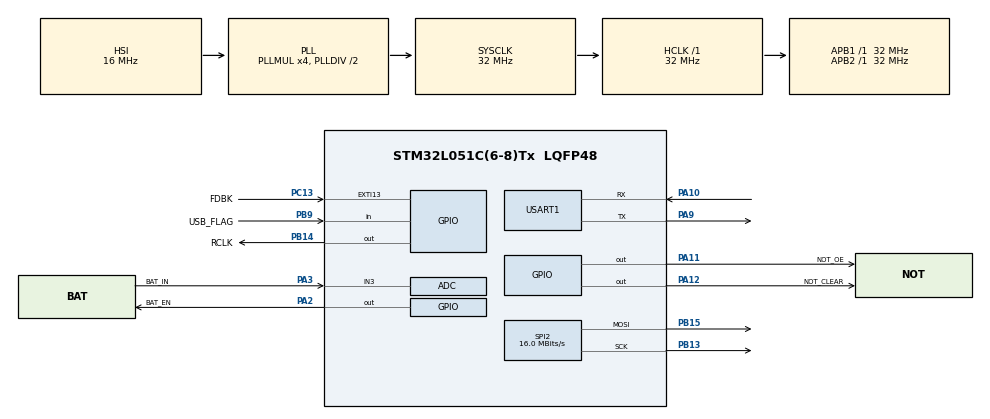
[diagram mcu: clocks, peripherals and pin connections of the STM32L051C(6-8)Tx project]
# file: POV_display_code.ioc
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Dma.Request0=SPI2_TX
Dma.SPI2_TX.0.Direction=DMA_MEMORY_TO_PERIPH
Dma.SPI2_TX.0.Instance=DMA1_Channel5
Dma.SPI2_TX.0.MemDataAlignment=DMA_MDATAALIGN_BYTE
Dma.SPI2_TX.0.MemInc=DMA_MINC_ENABLE
Dma.SPI2_TX.0.Mode=DMA_CIRCULAR
Dma.SPI2_TX.0.PeriphDataAlignment=DMA_PDATAALIGN_BYTE
Dma.SPI2_TX.0.PeriphInc=DMA_PINC_DISABLE
Dma.SPI2_TX.0.Priority=DMA_PRIORITY_LOW
Mcu.Family=STM32L0
Mcu.Name=STM32L051C(6-8)Tx
Mcu.Package=LQFP48
NVIC.DMA1_Channel4_5_6_7_IRQn=true\:0\:0\:false\:false\:true\:false\:true
NVIC.EXTI4_15_IRQn=true\:0\:0\:false\:false\:true\:true\:true
PA10.Mode=Asynchronous
PA10.Signal=USART1_RX
PA11.GPIO_Label=NOT_OE
PA11.Signal=GPIO_Output
PA12.GPIO_Label=NOT_CLEAR
PA12.Signal=GPIO_Output
PA13.Mode=Serial_Wire
PA13.Signal=SYS_SWDIO
PA14.Mode=Serial_Wire
PA14.Signal=SYS_SWCLK
PA2.GPIO_Label=BAT_EN
PA2.Signal=GPIO_Output
PA3.GPIO_Label=BAT_IN
PA3.Mode=IN3
PA3.Signal=ADC_IN3
PA9.Mode=Asynchronous
PA9.Signal=USART1_TX
PB13.Mode=TX_Only_Simplex_Unidirect_Master
PB13.Signal=SPI2_SCK
PB14.GPIO_Label=RCLK
PB14.Signal=GPIO_Output
PB15.Mode=TX_Only_Simplex_Unidirect_Master
PB15.Signal=SPI2_MOSI
PB9.GPIO_Label=USB_FLAG
PB9.Signal=GPIO_Input
PC13.GPIO_Label=FDBK
PC13.Signal=GPXTI13
PC14-OSC32_IN.Mode=LSE-External-Oscillator
PC14-OSC32_IN.Signal=RCC_OSC32_IN
PC15-OSC32_OUT.Mode=LSE-External-Oscillator
PC15-OSC32_OUT.Signal=RCC_OSC32_OUT
ProjectManager.HeapSize=0x200
ProjectManager.StackSize=0x400
ProjectManager.TargetToolchain=Makefile
RCC.AHBFreq_Value=32000000
RCC.APB1Freq_Value=32000000
RCC.APB1TimFreq_Value=32000000
RCC.APB2Freq_Value=32000000
RCC.APB2TimFreq_Value=32000000
RCC.HCLKFreq_Value=32000000
RCC.HSE_VALUE=8000000
RCC.HSI16_VALUE=16000000
RCC.HSI_VALUE=16000000
RCC.MSIClockRange=RCC_MSIRANGE_6
RCC.MSI_VALUE=4194000
RCC.PLLMUL=RCC_PLLMUL_4
RCC.RTCClockSelectionVirtual=RCC_RTCCLKSOURCE_LSE
RCC.SYSCLKFreq_VALUE=32000000
RCC.SYSCLKSource=RCC_SYSCLKSOURCE_PLLCLK
RCC.VCOOutputFreq_Value=64000000
RTC.Date=21
RTC.Format=RTC_FORMAT_BCD
RTC.HourFormat=RTC_HOURFORMAT_12
RTC.Hours=3
RTC.Minutes=30
RTC.Month=RTC_MONTH_APRIL
RTC.Seconds=45
RTC.StoreOperation=RTC_STOREOPERATION_RESET
RTC.TimeFormat=RTC_HOURFORMAT12_PM
RTC.WeekDay=RTC_WEEKDAY_THURSDAY
SPI2.CLKPhase=SPI_PHASE_1EDGE
SPI2.CLKPolarity=SPI_POLARITY_LOW
SPI2.CalculateBaudRate=16.0 MBits/s
SPI2.Direction=SPI_DIRECTION_2LINES
SPI2.FirstBit=SPI_FIRSTBIT_MSB
SPI2.Mode=SPI_MODE_MASTER
SPI2.VirtualType=VM_MASTER
TIM2.Prescaler=64-1
USART1.VirtualMode-Asynchronous=VM_ASYNC
VP_RTC_VS_RTC_Activate.Mode=RTC_Enabled
VP_RTC_VS_RTC_Calendar.Mode=RTC_Calendar
VP_TIM2_VS_ClockSourceINT.Mode=Internal
board=custom

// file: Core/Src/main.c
/* USER CODE BEGIN Header */
/**
  ******************************************************************************
  * @file           : main.c
  * @brief          : Main program body
  ******************************************************************************
  * @attention
  *
  * <h2><center>&copy; Copyright (c) 2022 STMicroelectronics.
  * All rights reserved.</center></h2>
  *
  * This software component is licensed by ST under BSD 3-Clause license,
  * the "License"; You may not use this file except in compliance with the
  * License. You may obtain a copy of the License at:
  *                        opensource.org/licenses/BSD-3-Clause
  *
  ******************************************************************************
  */
/* USER CODE END Header */
#include "main.h"
#include "adc.h"
#include "dma.h"
#include "rtc.h"
#include "spi.h"
#include "tim.h"
#include "usart.h"
#include "gpio.h"

/* USER CODE BEGIN Includes */
#include "led.h"
#include "clk.h"
#include "img.h"
#include "array.h"
#include <stdbool.h>
#include "config.h"
/* USER CODE END Includes */

/* USER CODE BEGIN PV */
/**
 * @brief time of full rotation in ms
 *
 */
volatile uint16_t period = 0;

/**
 * @brief time of full rotation in us
 *
 */
volatile uint16_t periodUS = 0;

extern volatile bool GPIO_Flag;
volatile size_t imgIdx = 0;
volatile bool isShutDown = false;

/* USER CODE END PV */

void SystemClock_Config(void);

int main(void)
{

  /* MCU Configuration--------------------------------------------------------*/

  /* Reset of all peripherals, Initializes the Flash interface and the Systick. */
  HAL_Init();

  /* Configure the system clock */
  SystemClock_Config();

  /* Initialize all configured peripherals */
  MX_GPIO_Init();
  MX_ADC_Init();
  MX_SPI2_Init();
  MX_RTC_Init();
  MX_DMA_Init();
  MX_TIM2_Init();
  MX_USART1_UART_Init();
  /* USER CODE BEGIN 2 */
  TIM_Init();
  GPIO_Init();
  LED_Init();
  LED_AllBlack();
  HAL_Delay(1500);
  LED_AllWhite();
  // while(1);
  HAL_Delay(1500);
  LED_AllBlack();

  uint16_t prev_millis = 0;
  #ifdef MODE_IMAGE
    const size_t imgIdxMax = IMG_SIZE;
    for (size_t i = 0; i < imgIdxMax; i++)
    {
      LED_Send(image[i]);
      HAL_Delay(2000/imgIdxMax);
    }

  #endif
  #ifdef MODE_ANALOG_CLOCK
    const size_t imgIdxMax = 120;
  #endif
  /* USER CODE END 2 */

  /* Infinite loop */
  /* USER CODE BEGIN WHILE */

  /**
   * @brief time in ms since last full rotation after which display goes dormant
   *
   */
  const uint16_t shutdownTime = 500;

  while (1)
  {
    #if SHUTDOWN_ENABLE
    if(imgIdx > 3*imgIdxMax){
      sleepRoutine();
    }
    #endif

    #ifdef MODE_IMAGE

    // LED_Send(image[(imgIdx+imgIdxMax*3/4)%imgIdxMax]);
    LED_Send(image[(imgIdx)%imgIdxMax]);

    #endif

    #ifdef MODE_ANALOG_CLOCK
    uint8_t sendData[8];
    // size_t tempIdx = imgIdx;
    size_t tempIdx = (imgIdx + 3 + imgIdxMax/2) % imgIdxMax;

    //add background
    ARRAY_Copy(CLK_BKGD[tempIdx], sendData, 8);

    // //add hands
    RTC_TimeTypeDef currentTime;
    RTC_DateTypeDef currentDate;
    HAL_RTC_GetTime(&hrtc, &currentTime, RTC_FORMAT_BIN);
    HAL_RTC_GetDate(&hrtc, &currentDate, RTC_FORMAT_BIN);

    if(currentTime.Hours * 10 == tempIdx)
      ARRAY_BitwiseOR(sendData, hours, sendData, 8);
    if(currentTime.Minutes * 2 == tempIdx)
      ARRAY_BitwiseOR(sendData, minutes, sendData, 8);
    if(currentTime.Seconds * 2 == tempIdx)
      ARRAY_BitwiseOR(sendData, seconds, sendData, 8);

    LED_Send(sendData);

    #endif

    //progress in showing img
    imgIdx++;

    //delay routine
    while(true){
      //us delay from us period
      // if(__HAL_TIM_GET_COUNTER(&HTIM_US_GET) - prev_millis >= (uint16_t)(periodUS/(imgIdxMax+1)))
      if(__HAL_TIM_GET_COUNTER(&HTIM_US_GET) - prev_millis >= (uint16_t)(periodUS/(imgIdxMax)))
        break;
      if(GPIO_Flag){
        //if anchor point detected stop waiting and show another column
        GPIO_Flag = false;
        break;
      }
    }
    prev_millis = __HAL_TIM_GET_COUNTER(&HTIM_US_GET);
    /* USER CODE END WHILE */

  }
}

void SystemClock_Config(void)
{
  RCC_OscInitTypeDef RCC_OscInitStruct = {0};
  RCC_ClkInitTypeDef RCC_ClkInitStruct = {0};
  RCC_PeriphCLKInitTypeDef PeriphClkInit = {0};

  /** Configure the main internal regulator output voltage
  */
  __HAL_PWR_VOLTAGESCALING_CONFIG(PWR_REGULATOR_VOLTAGE_SCALE1);
  /** Configure LSE Drive Capability
  */
  HAL_PWR_EnableBkUpAccess();
  __HAL_RCC_LSEDRIVE_CONFIG(RCC_LSEDRIVE_LOW);
  /** Initializes the RCC Oscillators according to the specified parameters
  * in the RCC_OscInitTypeDef structure.
  */
  RCC_OscInitStruct.OscillatorType = RCC_OSCILLATORTYPE_HSI|RCC_OSCILLATORTYPE_LSE;
  RCC_OscInitStruct.LSEState = RCC_LSE_ON;
  RCC_OscInitStruct.HSIState = RCC_HSI_ON;
  RCC_OscInitStruct.HSICalibrationValue = RCC_HSICALIBRATION_DEFAULT;
  RCC_OscInitStruct.PLL.PLLState = RCC_PLL_ON;
  RCC_OscInitStruct.PLL.PLLSource = RCC_PLLSOURCE_HSI;
  RCC_OscInitStruct.PLL.PLLMUL = RCC_PLLMUL_4;
  RCC_OscInitStruct.PLL.PLLDIV = RCC_PLLDIV_2;
  if (HAL_RCC_OscConfig(&RCC_OscInitStruct) != HAL_OK)
  {
    Error_Handler();
  }
  /** Initializes the CPU, AHB and APB buses clocks
  */
  RCC_ClkInitStruct.ClockType = RCC_CLOCKTYPE_HCLK|RCC_CLOCKTYPE_SYSCLK
                              |RCC_CLOCKTYPE_PCLK1|RCC_CLOCKTYPE_PCLK2;
  RCC_ClkInitStruct.SYSCLKSource = RCC_SYSCLKSOURCE_PLLCLK;
  RCC_ClkInitStruct.AHBCLKDivider = RCC_SYSCLK_DIV1;
  RCC_ClkInitStruct.APB1CLKDivider = RCC_HCLK_DIV1;
  RCC_ClkInitStruct.APB2CLKDivider = RCC_HCLK_DIV1;

  if (HAL_RCC_ClockConfig(&RCC_ClkInitStruct, FLASH_LATENCY_1) != HAL_OK)
  {
    Error_Handler();
  }
  PeriphClkInit.PeriphClockSelection = RCC_PERIPHCLK_USART1|RCC_PERIPHCLK_RTC;
  PeriphClkInit.Usart1ClockSelection = RCC_USART1CLKSOURCE_PCLK2;
  PeriphClkInit.RTCClockSelection = RCC_RTCCLKSOURCE_LSE;
  if (HAL_RCCEx_PeriphCLKConfig(&PeriphClkInit) != HAL_OK)
  {
    Error_Handler();
  }
}

/* USER CODE BEGIN 4 */
void sleepRoutine()
{
  LED_AllBlack();
  periodUS = 0;
  isShutDown = true;

  HAL_SuspendTick();
  HAL_PWR_EnterSTOPMode(PWR_LOWPOWERREGULATOR_ON, PWR_STOPENTRY_WFI);
}

void wakeUpRoutine()
{
  isShutDown = false;
  SystemClock_Config();
  HAL_ResumeTick();
}

/* USER CODE END 4 */

void Error_Handler(void)
{
  __disable_irq();
  while (1)
  {
  }
}

/************************ (C) COPYRIGHT STMicroelectronics *****END OF FILE****/
